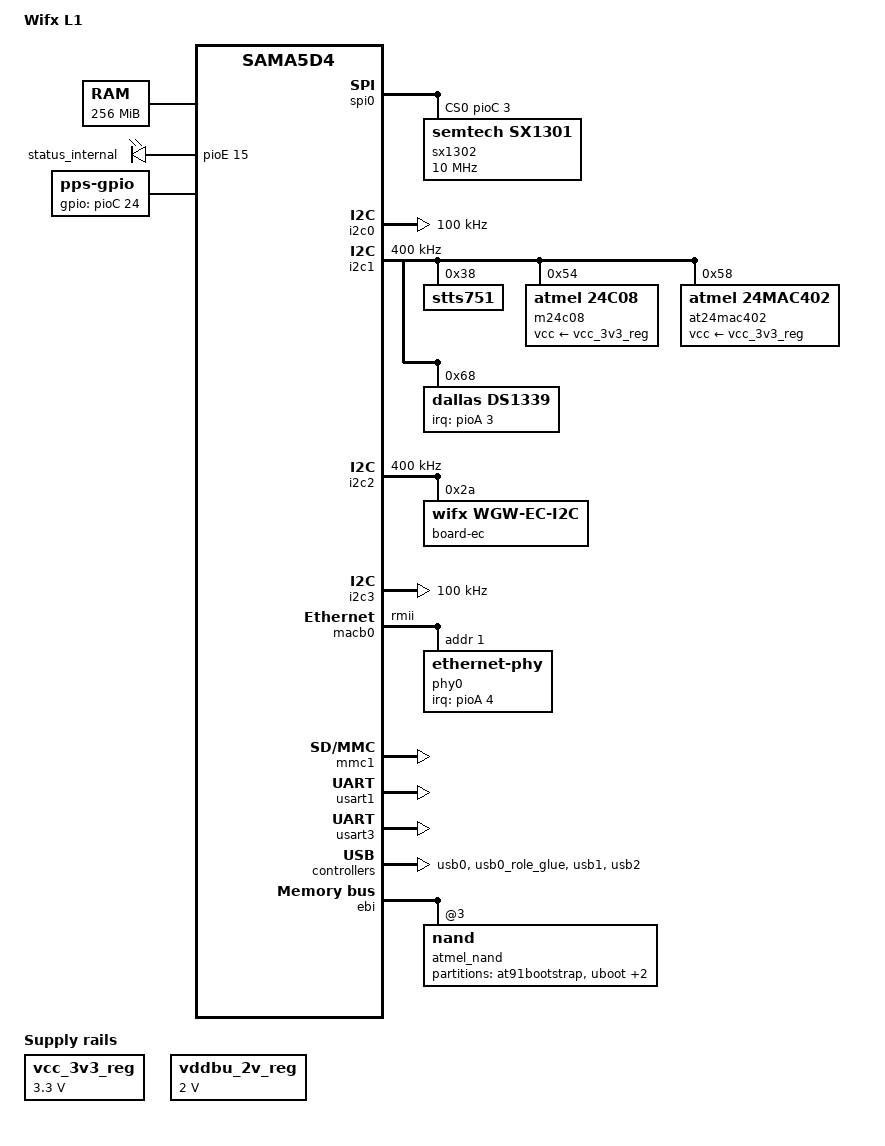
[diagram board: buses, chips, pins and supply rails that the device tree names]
// SPDX-License-Identifier: (GPL-2.0+ OR MIT)
/*
 * l1.dts
 *  Device Tree file for the Wifx L1 LoRa gateway from Wifx SA
 *
 *  Copyright (C) 2021 Wifx SA,
 *                2021 Yannick Lanz <yannick.lanz@wifx.net>
 *                2026 Yannick Serafini <yannick.serafini@wifx.net>
 */
/dts-v1/;
#include "sama5d4.dtsi"

/ {
	model = "Wifx L1";
	compatible = "wifx,l1", "atmel,sama5d4", "atmel,sama5";

	chosen {
		stdout-path = "serial0:115200n8";
	};

	aliases {
		rtc0 = &ds1339;
		rtc1 = &rtc_internal;
		serial1 = &usart1;
	};

	memory@20000000 {
		reg = <0x20000000 0x10000000>;
	};

	clocks {
		slow_xtal {
			clock-frequency = <32768>;
		};

		main_xtal {
			clock-frequency = <12000000>;
		};
	};

	ahb {
		apb {
			spi0: spi@f8010000 {
				status = "okay";
				cs-gpios = <&pioC 3 0>;

				sx1302@0 {
					compatible = "semtech,sx1301";
					spi-max-frequency = <10000000>;
					reg = <0>;
				};
			};

			i2c0: i2c@f8014000 {
				status = "okay";
				clock-frequency = <100000>;
				i2c-digital-filter;
				i2c-analog-filter;
			};

			i2c1: i2c@f8018000 {
				status = "okay";
				clock-frequency = <400000>;
				i2c-digital-filter;
				i2c-analog-filter;

				stts751: temp_sensor@38 {
					compatible = "stts751";
					reg = <0x38>;
					status = "okay";
				};

				m24c08: eeprom@54 {
					compatible = "atmel,24c08";
					reg = <0x54>;
					pagesize = <16>;
					status = "okay";
					vcc-supply = <&vcc_3v3_reg>;
				};

				at24mac402: mac_eeprom@58 {
					compatible = "atmel,24mac402";
					reg = <0x58>;
					status = "okay";
					vcc-supply = <&vcc_3v3_reg>;
				};

				ds1339: rtc@68 {
					compatible = "dallas,ds1339";
					trickle-resistor-ohms = <250>;
					reg = <0x68>;
					status = "okay";

					/* IRQ sur PA3, falling edge */
					interrupt-parent = <&pioA>;
					interrupts = <3 IRQ_TYPE_EDGE_FALLING>;
					wakeup-source;
				};
			};

			i2c2: i2c@f8024000 {
				status = "okay";
				clock-frequency = <400000>;
				i2c-digital-filter = "true";
				i2c-analog-filter = "true";

				board-ec@2a {
					compatible = "wifx,wgw-ec-i2c";
					reg = <0x2a>;
					status = "okay";

					ec-core {
						compatible = "wifx,wgw-ec-core";
						status = "okay";

						interrupt-parent = <&pioE>;
						interrupts = <27 IRQ_TYPE_EDGE_RISING>;

						pinctrl-names = "default";
						pinctrl-0 = <&pinctrl_mcu_irq &pinctrl_mcu_cpu_state>;

						cpu-state-gpios = <&pioA 19 GPIO_ACTIVE_HIGH>;

						usb_typec:usbc {
							compatible = "wifx,wgw-ec-usbc";
							status = "okay";

							connector {
								compatible = "usb-c-connector";
								power-role = "dual";
								data-role = "dual";
								status = "okay";
							};
						};

						leds {
							compatible = "wifx,wgw-ec-leds";
							#address-cells = <1>;
							#size-cells = <0>;
							status = "okay";

							statusled: led@0 {
								reg = <0>;
								label = "status";
								max-brightness = <255>;
								linux,default-trigger = "heartbeat";
							};

							serviceled: led@1 {
								reg = <1>;
								label = "service";
								max-brightness = <255>;
								linux,default-trigger = "usb-data-mode";
								trigger-sources = <&usb0_role_glue>;
							};
						};
					};
				};
			};

			i2c3: i2c@fc038000 {
				status = "okay";
				/* limited to 100KHz to support wake-up without bus mangling */
				clock-frequency = <100000>;
				atmel,fifo-size = <16>;
				i2c-digital-filter;
				i2c-analog-filter;
			};

			macb0: ethernet@f8020000 {
				phy-mode = "rmii";
				status = "okay";
				pinctrl-names = "default";
				pinctrl-0 = <&pinctrl_macb0_rmii &pinctrl_macb0_phy_irq>;

				phy0: ethernet-phy@1 {
					interrupt-parent = <&pioA>;
					interrupts = <4 IRQ_TYPE_LEVEL_LOW>;
					reg = <1>;
				};
			};

			mmc1: mmc@fc000000 {
				pinctrl-names = "default";
				pinctrl-0 = <&pinctrl_mmc1_clk_cmd_dat0 &pinctrl_mmc1_dat1_3 &pinctrl_mmc1_cd>;
				status = "okay";
				slot@0 {
					reg = <0>;
					bus-width = <4>;
					cd-gpios = <&pioE 3 0>;
				};
			};

			usart1: serial@f8030000 {
				atmel,use-dma-rx;
				atmel,use-dma-tx;
				pinctrl-0 = <&pinctrl_usart1>;
				status = "okay";
			};

			usart3: serial@fc00c000 {
				atmel,use-dma-rx;
				atmel,use-dma-tx;
				status = "okay";
			};

			tcb0: timer@f801c000 {
				timer0: timer@0 {
					compatible = "atmel,tcb-timer";
					reg = <0>;
				};

				timer1: timer@1 {
					compatible = "atmel,tcb-timer";
					reg = <1>;
				};
			};

			/* disable unused TCB */
			tcb1: timer@fc020000 {
				status = "disabled";
			};
			tcb2: timer@fc024000 {
				status = "disabled";
			};

			watchdog@fc068640 {
				status = "okay";
			};

			rtc_internal:rtc@fc0686b0 {
				status = "okay";
			};
		};

		usb0: gadget@400000 {
			usb-role-switch;
			status = "okay";
		};

		usb0_role_glue: usb0-role-switch {
			compatible = "wifx,drd-glue";
			#trigger-source-cells = <0>;
			status = "okay";

			wifx,udc-controller = <&usb0>;
			wifx,wgw-ec-usbc = <&usb_typec>;
		};

		usb1: ohci@500000 {
			num-ports = <3>;
			atmel,vbus-gpios = <0 0 0>;
			atmel,oc-gpios = <0 0 0>;
			status = "okay";
		};

		usb2: ehci@600000 {
			status = "okay";
		};

		ebi: ebi@10000000 {
			pinctrl-0 = <&pinctrl_ebi_cs3 &pinctrl_ebi_nrd_nandoe
					&pinctrl_ebi_nwe_nandwe &pinctrl_ebi_nandrdy
					&pinctrl_ebi_data_0_7 &pinctrl_ebi_nand_addr>;
			pinctrl-names = "default";
			status = "okay";

			nand_controller: nand-controller {
				status = "okay";
				atmel,pmecc-cap = <4>;
				atmel,pmecc-sector-size = <512>;

				nand@3 {
					reg = <0x3 0x0 0x2>;
					atmel,rb = <0>;
					nand-bus-width = <8>;
					nand-ecc-mode = "hw";
					nand-on-flash-bbt;
					label = "atmel_nand";

					partitions {
						compatible = "fixed-partitions";
						#address-cells = <1>;
						#size-cells = <1>;

						at91bootstrap@0 {
							label = "at91bootstrap";
							reg = <0x0 0x40000>;
						};

						uboot@40000 {
							label = "uboot";
							reg = <0x40000 0xC0000>;
						};

						uboot-env@100000 {
							label = "uboot-env";
							reg = <0x100000 0x80000>;
						};

						ubi@180000 {
							label = "ubi";
							reg = <0x180000 0x3FE00000>;
						};
					};
				};
			};
		};
	};

	leds {
		compatible = "gpio-leds";
		status = "okay";

		status_internal {
			gpios = <&pioE 15 GPIO_ACTIVE_HIGH>;
			linux,default-trigger = "heartbeat";
		};
	};

	vcc_3v3_reg: fixedregulator_3v3 {
		compatible = "regulator-fixed";
		regulator-name = "VCC 3V3";
		regulator-min-microvolt = <3300000>;
		regulator-max-microvolt = <3300000>;
		regulator-boot-on;
		regulator-always-on;
	};

	vddbu_2v_reg: fixedregulator_2v {
		compatible = "regulator-fixed";
		regulator-name = "VDDBU 2V";
		regulator-min-microvolt = <2000000>;
		regulator-max-microvolt = <2000000>;
		regulator-boot-on;
		regulator-always-on;
	};

	pps {
		pinctrl-names = "default";
		pinctrl-0 = <&pinctrl_gnss_pps>;

		gpios = <&pioC 24 GPIO_ACTIVE_HIGH>;
		/* assert-falling-edge; */

		compatible = "pps-gpio";
	};
};

&pinctrl {
	motherboard {
		pinctrl_mmc1_cd: mmc1_cd {
			atmel,pins = <AT91_PIOE 3 AT91_PERIPH_GPIO AT91_PINCTRL_PULL_UP_DEGLITCH>;
		};
		pinctrl_mcu_irq: mcu_irq_0 {
			atmel,pins = <AT91_PIOE 27 AT91_PERIPH_GPIO AT91_PINCTRL_PULL_UP_DEGLITCH>;
		};
		pinctrl_mcu_cpu_state: mcu_cpu_state {
			atmel,pins = <AT91_PIOA 19 AT91_PERIPH_GPIO (AT91_PINCTRL_OUTPUT | AT91_PINCTRL_OUTPUT_VAL(1))>;
		};
		pinctrl_macb0_phy_irq: macb0_phy_irq_0 {
			atmel,pins = <AT91_PIOA 4 AT91_PERIPH_GPIO AT91_PINCTRL_PULL_UP_DEGLITCH>;
		};
		pinctrl_sx130x_rst: sx130x_rst {
			atmel,pins = <AT91_PIOA 1 AT91_PERIPH_GPIO AT91_PINCTRL_PULL_UP_DEGLITCH>;
		};
		pinctrl_rf_front_pwr_en: rf_front_pwr_en {
			atmel,pins = <AT91_PIOA 11 AT91_PERIPH_GPIO AT91_PINCTRL_PULL_UP_DEGLITCH>;
		};
		pinctrl_gnss_pps: gnss_pps {
			atmel,pins = <AT91_PIOC 24 AT91_PERIPH_GPIO AT91_PINCTRL_DEGLITCH>;
		};
	};

	extboard {
		pinctrl_ext_rst: ext_rst {
			atmel,pins = <AT91_PIOA 17 AT91_PERIPH_GPIO AT91_PINCTRL_PULL_UP_DEGLITCH>;
		};
		pinctrl_ext_wake: ext_wake {
			atmel,pins = <AT91_PIOA 5 AT91_PERIPH_GPIO AT91_PINCTRL_PULL_UP_DEGLITCH>;
		};
		pinctrl_ext_pwr_en: ext_pwr_en {
			atmel,pins = <AT91_PIOD 18 AT91_PERIPH_GPIO AT91_PINCTRL_PULL_DOWN>;
		};
		pinctrl_ext_boot_n: ext_boot_n {
			atmel,pins = <AT91_PIOD 19 AT91_PERIPH_GPIO AT91_PINCTRL_PULL_UP_DEGLITCH>;
		};
		pinctrl_ext_gpio1: ext_gpio1 {
			atmel,pins = <AT91_PIOE 8 AT91_PERIPH_GPIO AT91_PINCTRL_PULL_DOWN>;
		};
		pinctrl_ext_gpio2: ext_gpio2 {
			atmel,pins = <AT91_PIOE 11 AT91_PERIPH_GPIO AT91_PINCTRL_PULL_DOWN>;
		};
	};
};
